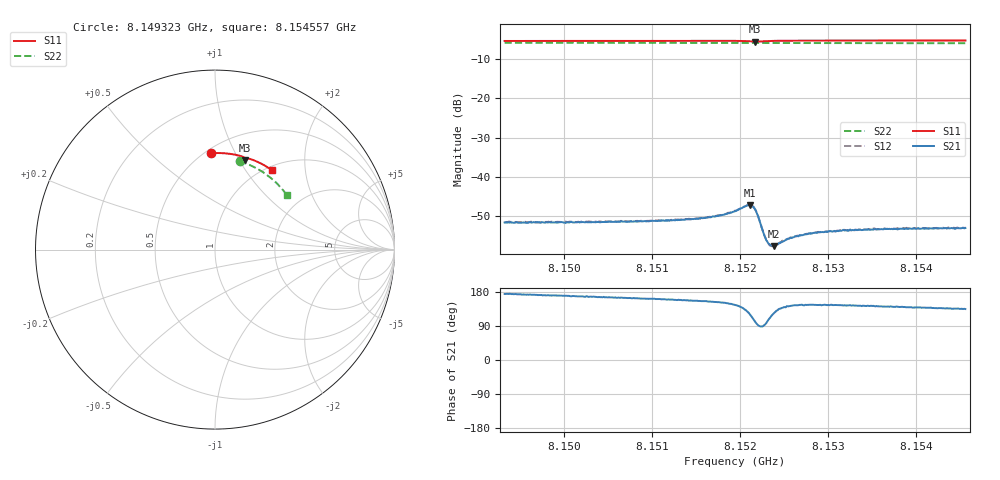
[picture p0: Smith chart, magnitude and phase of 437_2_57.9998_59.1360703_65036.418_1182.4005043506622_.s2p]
#  HZ  S  RI  R  50.00
! Rohde & Schwarz Vector Network Analyzer
! Rohde-Schwarz,ZNB20-2Port,1311601062101988,3.16
! Created: UTC 3/21/2024, 1:09:54 AM
! freq[Hz]  re:S11  im:S11  re:S21  im:S21  re:S12  im:S12  re:S22  im:S22
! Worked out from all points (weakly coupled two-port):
!   401 points, 8.149323 GHz to 8.154557 GHz, reference 50 ohm
!   highest |S21| = -47.18 dB at 8.15211 GHz (marker M1); lowest = -57.6 dB at 8.152385 GHz (marker M2)
!   lowest |S11| = -5.6 dB at 8.152162 GHz (marker M3), VSWR 3.23, Z = 38.3 + j53.1 ohm
!   |S11| at or under -10 dB: nowhere
!   |S22| runs from -6.0 to -5.8 dB; largest |S21 - S12| = 0.00013
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8.1493227e9  -0.0222 0.5368  -0.00261 0.00026  -0.00264 0.000271  0.1366 0.4919
8.1501994e9  0.0388 0.5374  -0.00259 0.000552  -0.00263 0.00061  0.1897 0.4727
8.1510761e9  0.0997 0.5309  -0.00262 0.000909  -0.00264 0.000961  0.2401 0.4477
8.1514555e9  0.1261 0.5257  -0.00267 0.00116  -0.00266 0.00117  0.2609 0.4352
8.1515995e9  0.1364 0.5231  -0.00272 0.00127  -0.00273 0.00131  0.2687 0.4304
8.1518088e9  0.1516 0.5186  -0.00288 0.00158  -0.0029 0.00164  0.2798 0.4228
8.1519397e9  0.1614 0.5145  -0.00301 0.00206  -0.00301 0.00215  0.2865 0.418
8.1520574e9  0.1695 0.5072  -0.00284 0.00311  -0.00282 0.00315  0.2924 0.4132
8.1521098e9  0.1705 0.5025  -0.00221 0.00378  -0.00217 0.00382  0.2949 0.4112
8.1521359e9  0.1697 0.5007  -0.00158 0.00395  -0.00156 0.00401  0.296 0.41
8.1521621e9  0.168 0.4999  -0.00089 0.00383  -0.000842 0.00389  0.2973 0.4092
8.1522014e9  0.1662 0.5016  -0.000108 0.00317  -4.5e-05 0.0032  0.2992 0.4078
8.1522668e9  0.1689 0.5063  -3.52e-05 0.00189  2.83e-05 0.0019  0.3025 0.4056
8.152306e9  0.1722 0.5078  -0.000297 0.00147  -0.000251 0.00147  0.3045 0.4041
8.1523453e9  0.1759 0.5083  -0.000553 0.00123  -0.000535 0.00121  0.3065 0.4026
8.1523845e9  0.1793 0.5082  -0.000743 0.00109  -0.000756 0.00113  0.3085 0.4009
8.1525939e9  0.1957 0.5048  -0.00137 0.00101  -0.00137 0.00101  0.3187 0.3925
8.1528163e9  0.2112 0.4996  -0.00158 0.00106  -0.00158 0.00108  0.3294 0.3832
8.1531565e9  0.2337 0.4903  -0.00169 0.00121  -0.00171 0.00124  0.3451 0.3685
8.153693e9  0.2674 0.4739  -0.00168 0.00139  -0.00166 0.00141  0.3682 0.3439
8.1538631e9  0.2776 0.4681  -0.00166 0.00139  -0.00166 0.00147  0.3753 0.3358
8.1545566e9  0.3182 0.4427  -0.00157 0.00159  -0.00159 0.0016  0.402 0.3015
